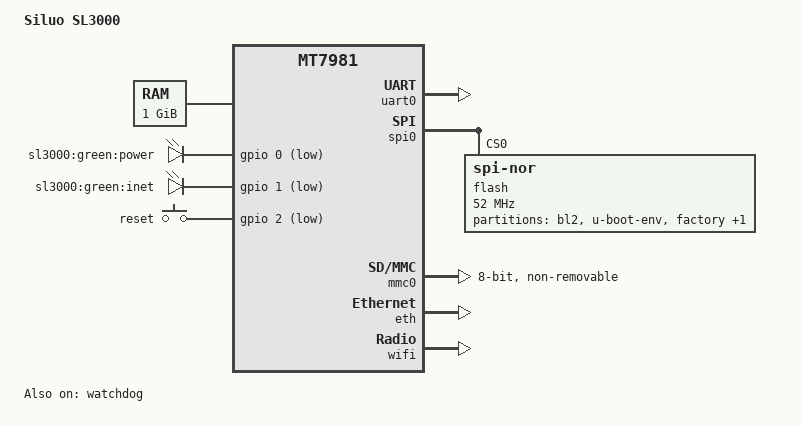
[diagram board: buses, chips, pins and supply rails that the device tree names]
// SPDX-License-Identifier: GPL-2.0-or-later OR MIT

/dts-v1/;

#include "mt7981.dtsi"

/ {
    model = "Siluo SL3000";
    compatible = "siluo,sl3000", "mediatek,mt7981";

    chosen {
        stdout-path = &uart0;
        bootargs = "console=ttyS0,115200n8";
    };

    memory@40000000 {
        device_type = "memory";
        reg = <0x40000000 0x40000000>; /* 1GB DDR4 */
    };

    aliases {
        serial0 = &uart0;
        ethernet0 = &gmac0;
        ethernet1 = &gmac1;
    };

    leds {
        compatible = "gpio-leds";

        led_power: power {
            label = "sl3000:green:power";
            gpios = <&gpio 0 GPIO_ACTIVE_LOW>;
        };

        led_inet: inet {
            label = "sl3000:green:inet";
            gpios = <&gpio 1 GPIO_ACTIVE_LOW>;
        };
    };

    keys {
        compatible = "gpio-keys";

        reset {
            label = "reset";
            gpios = <&gpio 2 GPIO_ACTIVE_LOW>;
            linux,code = <KEY_RESTART>;
        };
    };
};

&uart0 {
    status = "okay";
};

&watchdog {
    status = "okay";
};

&spi0 {
    status = "okay";

    flash@0 {
        compatible = "jedec,spi-nor";
        reg = <0>;
        spi-max-frequency = <52000000>;

        partitions {
            compatible = "fixed-partitions";
            #address-cells = <1>;
            #size-cells = <1>;

            partition@0 {
                label = "bl2";
                reg = <0x0 0x40000>;
                read-only;
            };

            partition@40000 {
                label = "u-boot-env";
                reg = <0x40000 0x10000>;
            };

            partition@50000 {
                label = "factory";
                reg = <0x50000 0x200000>;
            };

            partition@250000 {
                label = "firmware";
                reg = <0x250000 0x1db0000>;
            };
        };
    };
};

&mmc0 {
    status = "okay";
    bus-width = <8>;
    max-frequency = <200000000>;
    cap-mmc-highspeed;
    non-removable;
};

&eth {
    status = "okay";

    gmac0: mac@0 {
        compatible = "mediatek,mtk-gmac";
        reg = <0>;
        phy-mode = "rgmii";
        fixed-link {
            speed = <1000>;
            full-duplex;
        };
    };

    gmac1: mac@1 {
        compatible = "mediatek,mtk-gmac";
        reg = <1>;
        phy-mode = "rgmii";
        fixed-link {
            speed = <1000>;
            full-duplex;
        };
    };
};

&wifi {
    status = "okay";
    mediatek,mtd-eeprom = <&flash@0 0x200000>;
};
